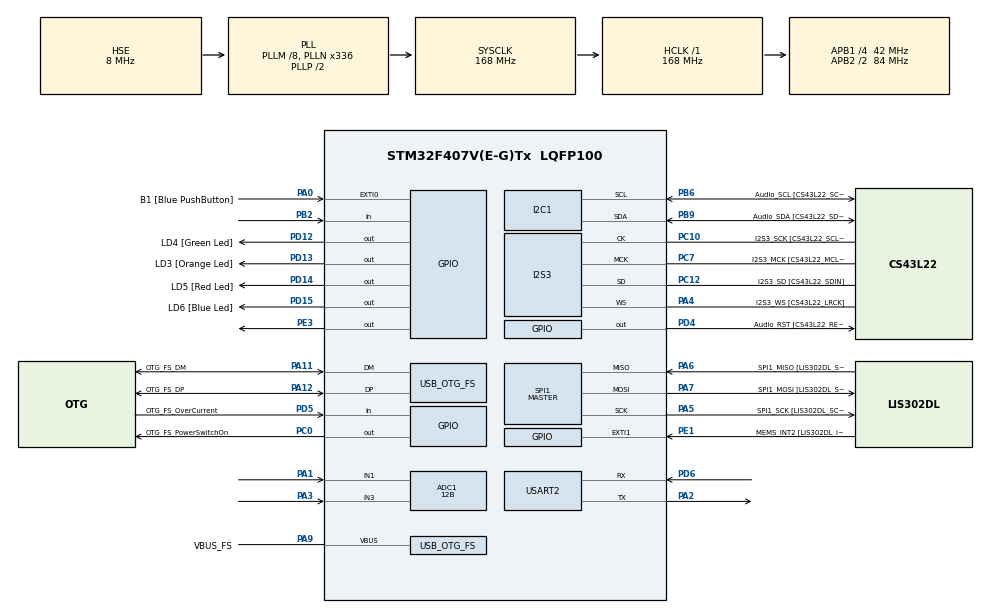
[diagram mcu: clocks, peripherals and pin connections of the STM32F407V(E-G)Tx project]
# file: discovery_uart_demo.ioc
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ADC1.Channel-0\#ChannelRegularConversion=ADC_CHANNEL_1
ADC1.Channel-2\#ChannelRegularConversion=ADC_CHANNEL_3
ADC1.ClockPrescaler=ADC_CLOCK_SYNC_PCLK_DIV4
ADC1.ContinuousConvMode=DISABLE
ADC1.DMAContinuousRequests=ENABLE
ADC1.EOCSelection=ADC_EOC_SEQ_CONV
ADC1.ExternalTrigConv=ADC_EXTERNALTRIGCONV_T2_TRGO
ADC1.InjNumberOfConversion=0
ADC1.NbrOfConversion=2
ADC1.NbrOfConversionFlag=1
ADC1.Rank-0\#ChannelRegularConversion=1
ADC1.Rank-2\#ChannelRegularConversion=2
ADC1.Resolution=ADC_RESOLUTION_12B
ADC1.SamplingTime-0\#ChannelRegularConversion=ADC_SAMPLETIME_15CYCLES
ADC1.SamplingTime-2\#ChannelRegularConversion=ADC_SAMPLETIME_15CYCLES
ADC1.ScanConvMode=ENABLE
ADC1.master=1
Dma.ADC1.0.Direction=DMA_PERIPH_TO_MEMORY
Dma.ADC1.0.FIFOMode=DMA_FIFOMODE_DISABLE
Dma.ADC1.0.Instance=DMA2_Stream0
Dma.ADC1.0.MemDataAlignment=DMA_MDATAALIGN_HALFWORD
Dma.ADC1.0.MemInc=DMA_MINC_ENABLE
Dma.ADC1.0.Mode=DMA_CIRCULAR
Dma.ADC1.0.PeriphDataAlignment=DMA_PDATAALIGN_HALFWORD
Dma.ADC1.0.PeriphInc=DMA_PINC_DISABLE
Dma.ADC1.0.Priority=DMA_PRIORITY_HIGH
Dma.Request0=ADC1
I2S3.AudioFreq-Half_Duplex_Master=I2S_AUDIOFREQ_96K
I2S3.ErrorAudioFreq=-2.34 %
I2S3.ErrorAudioFreq-Half_Duplex_Master=0.8 %
I2S3.FullDuplexMode=I2S_FULLDUPLEXMODE_DISABLE
I2S3.Instance=SPI$Index
I2S3.RealAudioFreq=93.75 KHz
I2S3.RealAudioFreq-Half_Duplex_Master=96.774 KHz
I2S3.VirtualMode=I2S_MODE_MASTER
Mcu.Family=STM32F4
Mcu.Name=STM32F407V(E-G)Tx
Mcu.Package=LQFP100
NVIC.DMA2_Stream0_IRQn=true\:0\:0\:false\:false\:true\:false\:true\:true
NVIC.OTG_FS_IRQn=true\:0\:0\:false\:false\:true\:true\:true\:true
NVIC.PriorityGroup=NVIC_PRIORITYGROUP_0
NVIC.TIM2_IRQn=true\:0\:2\:false\:false\:true\:true\:true\:true
PA0-WKUP.GPIO_Label=B1 [Blue PushButton]
PA0-WKUP.GPIO_ModeDefaultEXTI=GPIO_MODE_EVT_RISING
PA0-WKUP.GPIO_PuPd=GPIO_NOPULL
PA0-WKUP.Signal=GPXTI0
PA1.Signal=ADCx_IN1
PA10.GPIO_Label=OTG_FS_ID
PA10.GPIO_Mode=GPIO_MODE_AF_PP
PA10.GPIO_PuPd=GPIO_NOPULL
PA10.GPIO_Speed=GPIO_SPEED_FREQ_LOW
PA10.Signal=USB_OTG_FS_ID
PA11.GPIO_Label=OTG_FS_DM
PA11.GPIO_Mode=GPIO_MODE_AF_PP
PA11.GPIO_PuPd=GPIO_NOPULL
PA11.GPIO_Speed=GPIO_SPEED_FREQ_LOW
PA11.Mode=Device_Only
PA11.Signal=USB_OTG_FS_DM
PA12.GPIO_Label=OTG_FS_DP
PA12.GPIO_Mode=GPIO_MODE_AF_PP
PA12.GPIO_PuPd=GPIO_NOPULL
PA12.GPIO_Speed=GPIO_SPEED_FREQ_LOW
PA12.Mode=Device_Only
PA12.Signal=USB_OTG_FS_DP
PA13.GPIO_Label=SWDIO
PA13.Mode=Serial_Wire
PA13.Signal=SYS_JTMS-SWDIO
PA14.GPIO_Label=SWCLK
PA14.Mode=Serial_Wire
PA14.Signal=SYS_JTCK-SWCLK
PA2.Mode=Asynchronous
PA2.Signal=USART2_TX
PA3.Signal=ADCx_IN3
PA4.GPIO_Label=I2S3_WS [CS43L22_LRCK]
PA4.GPIO_Mode=GPIO_MODE_AF_PP
PA4.GPIO_PuPd=GPIO_NOPULL
PA4.GPIO_Speed=GPIO_SPEED_FREQ_LOW
PA4.Mode=Half_Duplex_Master
PA4.Signal=I2S3_WS
PA5.GPIO_Label=SPI1_SCK [LIS302DL_SCL/SPC]
PA5.GPIO_Mode=GPIO_MODE_AF_PP
PA5.GPIO_PuPd=GPIO_NOPULL
PA5.GPIO_Speed=GPIO_SPEED_FREQ_LOW
PA5.Mode=Full_Duplex_Master
PA5.Signal=SPI1_SCK
PA6.GPIO_Label=SPI1_MISO [LIS302DL_SDO]
PA6.GPIO_Mode=GPIO_MODE_AF_PP
PA6.GPIO_PuPd=GPIO_NOPULL
PA6.GPIO_Speed=GPIO_SPEED_FREQ_LOW
PA6.Mode=Full_Duplex_Master
PA6.Signal=SPI1_MISO
PA7.GPIO_Label=SPI1_MOSI [LIS302DL_SDA/SDI/SDO]
PA7.GPIO_Mode=GPIO_MODE_AF_PP
PA7.GPIO_PuPd=GPIO_NOPULL
PA7.GPIO_Speed=GPIO_SPEED_FREQ_LOW
PA7.Mode=Full_Duplex_Master
PA7.Signal=SPI1_MOSI
PA9.GPIO_Label=VBUS_FS
PA9.GPIO_Mode=GPIO_MODE_INPUT
PA9.GPIO_PuPd=GPIO_NOPULL
PA9.Mode=Activate_VBUS
PA9.Signal=USB_OTG_FS_VBUS
PB10.GPIO_Label=CLK_IN [MP45DT02_CLK]
PB10.GPIO_Mode=GPIO_MODE_AF_PP
PB10.GPIO_PuPd=GPIO_NOPULL
PB10.GPIO_Speed=GPIO_SPEED_FREQ_LOW
PB10.Signal=I2S2_CK
PB2.Signal=GPIO_Input
PB3.GPIO_Label=SWO
PB3.Signal=SYS_JTDO-SWO
PB6.GPIO_Label=Audio_SCL [CS43L22_SCL]
PB6.GPIO_Mode=GPIO_MODE_AF_OD
PB6.GPIO_Pu=GPIO_PULLUP
PB6.GPIO_PuPd=GPIO_NOPULL
PB6.GPIO_Speed=GPIO_SPEED_FREQ_LOW
PB6.Mode=I2C
PB6.Signal=I2C1_SCL
PB9.GPIO_Label=Audio_SDA [CS43L22_SDA]
PB9.GPIO_Mode=GPIO_MODE_AF_OD
PB9.GPIO_Pu=GPIO_PULLUP
PB9.GPIO_PuPd=GPIO_NOPULL
PB9.GPIO_Speed=GPIO_SPEED_FREQ_LOW
PB9.Mode=I2C
PB9.Signal=I2C1_SDA
PC0.GPIO_Label=OTG_FS_PowerSwitchOn
PC0.GPIO_PuPd=GPIO_NOPULL
PC0.GPIO_Speed=GPIO_SPEED_FREQ_LOW
PC0.PinState=GPIO_PIN_SET
PC0.Signal=GPIO_Output
PC10.GPIO_Label=I2S3_SCK [CS43L22_SCLK]
PC10.GPIO_Mode=GPIO_MODE_AF_PP
PC10.GPIO_PuPd=GPIO_NOPULL
PC10.GPIO_Speed=GPIO_SPEED_FREQ_LOW
PC10.Mode=Half_Duplex_Master
PC10.Signal=I2S3_CK
PC12.GPIO_Label=I2S3_SD [CS43L22_SDIN]
PC12.GPIO_Mode=GPIO_MODE_AF_PP
PC12.GPIO_PuPd=GPIO_NOPULL
PC12.GPIO_Speed=GPIO_SPEED_FREQ_LOW
PC12.Mode=Half_Duplex_Master
PC12.Signal=I2S3_SD
PC14-OSC32_IN.GPIO_Label=PC14-OSC32_IN
PC14-OSC32_IN.Mode=LSE-External-Oscillator
PC14-OSC32_IN.Signal=RCC_OSC32_IN
PC15-OSC32_OUT.GPIO_Label=PC15-OSC32_OUT
PC15-OSC32_OUT.Mode=LSE-External-Oscillator
PC15-OSC32_OUT.Signal=RCC_OSC32_OUT
PC3.GPIO_Label=PDM_OUT [MP45DT02_DOUT]
PC3.GPIO_Mode=GPIO_MODE_AF_PP
PC3.GPIO_PuPd=GPIO_NOPULL
PC3.GPIO_Speed=GPIO_SPEED_FREQ_LOW
PC3.Signal=I2S2_SD
PC7.GPIO_Label=I2S3_MCK [CS43L22_MCLK]
PC7.GPIO_Mode=GPIO_MODE_AF_PP
PC7.GPIO_PuPd=GPIO_NOPULL
PC7.GPIO_Speed=GPIO_SPEED_FREQ_LOW
PC7.Mode=Master_Clock_Activated
PC7.Signal=I2S3_MCK
PD12.GPIO_Label=LD4 [Green Led]
PD12.GPIO_PuPd=GPIO_NOPULL
PD12.GPIO_Speed=GPIO_SPEED_FREQ_LOW
PD12.Signal=GPIO_Output
PD13.GPIO_Label=LD3 [Orange Led]
PD13.GPIO_PuPd=GPIO_NOPULL
PD13.GPIO_Speed=GPIO_SPEED_FREQ_LOW
PD13.Signal=GPIO_Output
PD14.GPIO_Label=LD5 [Red Led]
PD14.GPIO_PuPd=GPIO_NOPULL
PD14.GPIO_Speed=GPIO_SPEED_FREQ_LOW
PD14.Signal=GPIO_Output
PD15.GPIO_Label=LD6 [Blue Led]
PD15.GPIO_PuPd=GPIO_NOPULL
PD15.GPIO_Speed=GPIO_SPEED_FREQ_LOW
PD15.Signal=GPIO_Output
PD4.GPIO_Label=Audio_RST [CS43L22_RESET]
PD4.GPIO_PuPd=GPIO_NOPULL
PD4.GPIO_Speed=GPIO_SPEED_FREQ_LOW
PD4.Signal=GPIO_Output
PD5.GPIO_Label=OTG_FS_OverCurrent
PD5.GPIO_Mode=GPIO_MODE_INPUT
PD5.GPIO_PuPd=GPIO_NOPULL
PD5.Signal=GPIO_Input
PD6.Mode=Asynchronous
PD6.Signal=USART2_RX
PE1.GPIO_Label=MEMS_INT2 [LIS302DL_INT2]
PE1.GPIO_ModeDefaultEXTI=GPIO_MODE_EVT_RISING
PE1.GPIO_PuPd=GPIO_NOPULL
PE1.Signal=GPXTI1
PE3.Signal=GPIO_Output
PH0-OSC_IN.GPIO_Label=PH0-OSC_IN
PH0-OSC_IN.Mode=HSE-External-Oscillator
PH0-OSC_IN.Signal=RCC_OSC_IN
PH1-OSC_OUT.GPIO_Label=PH1-OSC_OUT
PH1-OSC_OUT.Mode=HSE-External-Oscillator
PH1-OSC_OUT.Signal=RCC_OSC_OUT
ProjectManager.HeapSize=0x200
ProjectManager.StackSize=0x400
ProjectManager.TargetToolchain=STM32CubeIDE
RCC.48MHZClocksFreq_Value=48000000
RCC.AHBFreq_Value=168000000
RCC.APB1CLKDivider=RCC_HCLK_DIV4
RCC.APB1Freq_Value=42000000
RCC.APB1TimFreq_Value=84000000
RCC.APB2CLKDivider=RCC_HCLK_DIV2
RCC.APB2Freq_Value=84000000
RCC.APB2TimFreq_Value=168000000
RCC.CortexFreq_Value=168000000
RCC.HCLKFreq_Value=168000000
RCC.HSE_VALUE=8000000
RCC.HSI_VALUE=16000000
RCC.PLLM=8
RCC.PLLN=336
RCC.PLLQ=7
RCC.SYSCLKFreq_VALUE=168000000
RCC.SYSCLKSource=RCC_SYSCLKSOURCE_PLLCLK
RCC.VCOOutputFreq_Value=336000000
SH.ADCx_IN1.0=ADC1_IN1,IN1
SH.ADCx_IN3.0=ADC1_IN3,IN3
SPI1.BaudRatePrescaler-Full_Duplex_Master=SPI_BAUDRATEPRESCALER_2
SPI1.CalculateBaudRate-Full_Duplex_Master=42.0 MBits/s
SPI1.Direction=SPI_DIRECTION_2LINES
SPI1.Mode=SPI_MODE_MASTER
SPI1.Mode-Full_Duplex_Master=SPI_MODE_MASTER
SPI1.VirtualType=VM_MASTER
TIM2.Period=1679
TIM2.TIM_MasterOutputTrigger=TIM_TRGO_UPDATE
USART2.VirtualMode=VM_ASYNC
USB_DEVICE.CLASS_NAME_FS=CDC
USB_DEVICE.VirtualMode-CDC_FS=Cdc
USB_DEVICE.VirtualModeFS=Cdc_FS
USB_OTG_FS.VirtualMode=Device_Only
VP_TIM2_VS_ClockSourceINT.Mode=Internal
VP_USB_DEVICE_VS_USB_DEVICE_CDC_FS.Mode=CDC_FS
board=STM32F407G-DISC1

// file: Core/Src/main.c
/* USER CODE BEGIN Header */
/**
  ******************************************************************************
  * @file           : main.c
  * @brief          : Main program body
  ******************************************************************************
  * @attention
  *
  * Copyright (c) 2025 STMicroelectronics.
  * All rights reserved.
  *
  * This software is licensed under terms that can be found in the LICENSE file
  * in the root directory of this software component.
  * If no LICENSE file comes with this software, it is provided AS-IS.
  *
  ******************************************************************************
  */
/* USER CODE END Header */
#include "main.h"
#include "usb_device.h"

/* USER CODE BEGIN Includes */
#include "usbd_cdc_if.h"
/* USER CODE END Includes */

/* USER CODE BEGIN PD */
#define ADC_BUF_LEN 4096
/* USER CODE END PD */

ADC_HandleTypeDef hadc1;
DMA_HandleTypeDef hdma_adc1;

I2C_HandleTypeDef hi2c1;

I2S_HandleTypeDef hi2s3;

SPI_HandleTypeDef hspi1;

TIM_HandleTypeDef htim2;

UART_HandleTypeDef huart2;

/* USER CODE BEGIN PV */
uint16_t adc_buf[ADC_BUF_LEN];
volatile uint8_t full_ready = 0;
volatile uint8_t half_ready = 0;

extern USBD_HandleTypeDef hUsbDeviceFS;

extern volatile uint8_t CDC_Ready;
/* USER CODE END PV */

void SystemClock_Config(void);
static void MX_GPIO_Init(void);
static void MX_DMA_Init(void);
static void MX_I2C1_Init(void);
static void MX_I2S3_Init(void);
static void MX_SPI1_Init(void);
static void MX_ADC1_Init(void);
static void MX_TIM2_Init(void);
static void MX_USART2_UART_Init(void);
/* USER CODE BEGIN PFP */
void HAL_ADC_ConvHalfCpltCallback(ADC_HandleTypeDef *hadc)
{
//	CDC_Transmit_FS(adc_buf, ADC_BUF_LEN/2);
	half_ready = 1;
	HAL_TIM_Base_Stop(&htim2);   // pause sampling while we ship the snapshot
}

void HAL_ADC_ConvCpltCallback(ADC_HandleTypeDef *hadc)
{
//	CDC_Transmit_FS(adc_buf, ADC_BUF_LEN * 2);
	full_ready = 1;
	HAL_TIM_Base_Stop(&htim2);   // pause sampling while we ship the snapshot
}

/* USER CODE END PFP */

/* USER CODE BEGIN 0 */
static void resume_sampling(void)
{
	/* Clear any stale flags before we start filling again */
	half_ready = 0;
	full_ready = 0;

	HAL_TIM_Base_Start(&htim2);
}

static void transmit_snapshot(uint16_t *buf, uint16_t sample_count)
{
	uint16_t byte_count = sample_count * sizeof(uint16_t);

	/* Block until USB CDC can accept the packet, keeping the ADC stopped */
	while (CDC_Transmit_FS((uint8_t *)buf, byte_count) == USBD_BUSY)
	{
		HAL_Delay(1);
	}
}

/* USER CODE END 0 */

int main(void)
{

  /* MCU Configuration--------------------------------------------------------*/

  /* Reset of all peripherals, Initializes the Flash interface and the Systick. */
  HAL_Init();

  /* Configure the system clock */
  SystemClock_Config();

  /* Initialize all configured peripherals */
  MX_GPIO_Init();
  MX_DMA_Init();
  MX_I2C1_Init();
  MX_I2S3_Init();
  MX_SPI1_Init();
  MX_ADC1_Init();
  MX_USB_DEVICE_Init();
  MX_TIM2_Init();
  MX_USART2_UART_Init();
  /* USER CODE BEGIN 2 */
//  uint8_t msg[] = "Hello World!\r\n";

	HAL_ADC_Start_DMA(&hadc1, (uint32_t*)adc_buf, ADC_BUF_LEN);
	HAL_TIM_Base_Start(&htim2);
  /* USER CODE END 2 */

  /* Infinite loop */
  while (1)
  {

    /* USER CODE BEGIN 3 */
//    if(HAL_UART_Transmit(&huart2, msg, sizeof(msg) - 1, HAL_MAX_DELAY) == HAL_OK)
//    {
//    	HAL_Delay(1000);
//    	 HAL_GPIO_TogglePin(GPIOD, GPIO_PIN_12);

	  if (half_ready)
	      {
	          half_ready = 0;

	          transmit_snapshot(adc_buf, ADC_BUF_LEN / 2);
	          resume_sampling();
	      }
	  if (full_ready)
	      {
	          full_ready = 0;

	          transmit_snapshot(&adc_buf[ADC_BUF_LEN/2], ADC_BUF_LEN / 2);
	          resume_sampling();
	      }

  }
  /* USER CODE END 3 */
}

void SystemClock_Config(void)
{
  RCC_OscInitTypeDef RCC_OscInitStruct = {0};
  RCC_ClkInitTypeDef RCC_ClkInitStruct = {0};

  /** Configure the main internal regulator output voltage
  */
  __HAL_RCC_PWR_CLK_ENABLE();
  __HAL_PWR_VOLTAGESCALING_CONFIG(PWR_REGULATOR_VOLTAGE_SCALE1);

  /** Initializes the RCC Oscillators according to the specified parameters
  * in the RCC_OscInitTypeDef structure.
  */
  RCC_OscInitStruct.OscillatorType = RCC_OSCILLATORTYPE_HSE;
  RCC_OscInitStruct.HSEState = RCC_HSE_ON;
  RCC_OscInitStruct.PLL.PLLState = RCC_PLL_ON;
  RCC_OscInitStruct.PLL.PLLSource = RCC_PLLSOURCE_HSE;
  RCC_OscInitStruct.PLL.PLLM = 8;
  RCC_OscInitStruct.PLL.PLLN = 336;
  RCC_OscInitStruct.PLL.PLLP = RCC_PLLP_DIV2;
  RCC_OscInitStruct.PLL.PLLQ = 7;
  if (HAL_RCC_OscConfig(&RCC_OscInitStruct) != HAL_OK)
  {
    Error_Handler();
  }

  /** Initializes the CPU, AHB and APB buses clocks
  */
  RCC_ClkInitStruct.ClockType = RCC_CLOCKTYPE_HCLK|RCC_CLOCKTYPE_SYSCLK
                              |RCC_CLOCKTYPE_PCLK1|RCC_CLOCKTYPE_PCLK2;
  RCC_ClkInitStruct.SYSCLKSource = RCC_SYSCLKSOURCE_PLLCLK;
  RCC_ClkInitStruct.AHBCLKDivider = RCC_SYSCLK_DIV1;
  RCC_ClkInitStruct.APB1CLKDivider = RCC_HCLK_DIV4;
  RCC_ClkInitStruct.APB2CLKDivider = RCC_HCLK_DIV2;

  if (HAL_RCC_ClockConfig(&RCC_ClkInitStruct, FLASH_LATENCY_5) != HAL_OK)
  {
    Error_Handler();
  }
}

static void MX_ADC1_Init(void)
{

  ADC_ChannelConfTypeDef sConfig = {0};

  /** Configure the global features of the ADC (Clock, Resolution, Data Alignment and number of conversion)
  */
  hadc1.Instance = ADC1;
  hadc1.Init.ClockPrescaler = ADC_CLOCK_SYNC_PCLK_DIV4;
  hadc1.Init.Resolution = ADC_RESOLUTION_12B;
  hadc1.Init.ScanConvMode = ENABLE;
  hadc1.Init.ContinuousConvMode = DISABLE;
  hadc1.Init.DiscontinuousConvMode = DISABLE;
  hadc1.Init.ExternalTrigConvEdge = ADC_EXTERNALTRIGCONVEDGE_RISING;
  hadc1.Init.ExternalTrigConv = ADC_EXTERNALTRIGCONV_T2_TRGO;
  hadc1.Init.DataAlign = ADC_DATAALIGN_RIGHT;
  hadc1.Init.NbrOfConversion = 2;
  hadc1.Init.DMAContinuousRequests = ENABLE;
  hadc1.Init.EOCSelection = ADC_EOC_SEQ_CONV;
  if (HAL_ADC_Init(&hadc1) != HAL_OK)
  {
    Error_Handler();
  }

  /** Configure for the selected ADC regular channel its corresponding rank in the sequencer and its sample time.
  */
  sConfig.Channel = ADC_CHANNEL_1;
  sConfig.Rank = 1;
  sConfig.SamplingTime = ADC_SAMPLETIME_15CYCLES;
  if (HAL_ADC_ConfigChannel(&hadc1, &sConfig) != HAL_OK)
  {
    Error_Handler();
  }

  /** Configure for the selected ADC regular channel its corresponding rank in the sequencer and its sample time.
  */
  sConfig.Channel = ADC_CHANNEL_3;
  sConfig.Rank = 2;
  if (HAL_ADC_ConfigChannel(&hadc1, &sConfig) != HAL_OK)
  {
    Error_Handler();
  }

}

static void MX_I2C1_Init(void)
{

  hi2c1.Instance = I2C1;
  hi2c1.Init.ClockSpeed = 100000;
  hi2c1.Init.DutyCycle = I2C_DUTYCYCLE_2;
  hi2c1.Init.OwnAddress1 = 0;
  hi2c1.Init.AddressingMode = I2C_ADDRESSINGMODE_7BIT;
  hi2c1.Init.DualAddressMode = I2C_DUALADDRESS_DISABLE;
  hi2c1.Init.OwnAddress2 = 0;
  hi2c1.Init.GeneralCallMode = I2C_GENERALCALL_DISABLE;
  hi2c1.Init.NoStretchMode = I2C_NOSTRETCH_DISABLE;
  if (HAL_I2C_Init(&hi2c1) != HAL_OK)
  {
    Error_Handler();
  }

}

static void MX_I2S3_Init(void)
{

  hi2s3.Instance = SPI3;
  hi2s3.Init.Mode = I2S_MODE_MASTER_TX;
  hi2s3.Init.Standard = I2S_STANDARD_PHILIPS;
  hi2s3.Init.DataFormat = I2S_DATAFORMAT_16B;
  hi2s3.Init.MCLKOutput = I2S_MCLKOUTPUT_ENABLE;
  hi2s3.Init.AudioFreq = I2S_AUDIOFREQ_96K;
  hi2s3.Init.CPOL = I2S_CPOL_LOW;
  hi2s3.Init.ClockSource = I2S_CLOCK_PLL;
  hi2s3.Init.FullDuplexMode = I2S_FULLDUPLEXMODE_DISABLE;
  if (HAL_I2S_Init(&hi2s3) != HAL_OK)
  {
    Error_Handler();
  }

}

static void MX_SPI1_Init(void)
{

  /* SPI1 parameter configuration*/
  hspi1.Instance = SPI1;
  hspi1.Init.Mode = SPI_MODE_MASTER;
  hspi1.Init.Direction = SPI_DIRECTION_2LINES;
  hspi1.Init.DataSize = SPI_DATASIZE_8BIT;
  hspi1.Init.CLKPolarity = SPI_POLARITY_LOW;
  hspi1.Init.CLKPhase = SPI_PHASE_1EDGE;
  hspi1.Init.NSS = SPI_NSS_SOFT;
  hspi1.Init.BaudRatePrescaler = SPI_BAUDRATEPRESCALER_2;
  hspi1.Init.FirstBit = SPI_FIRSTBIT_MSB;
  hspi1.Init.TIMode = SPI_TIMODE_DISABLE;
  hspi1.Init.CRCCalculation = SPI_CRCCALCULATION_DISABLE;
  hspi1.Init.CRCPolynomial = 10;
  if (HAL_SPI_Init(&hspi1) != HAL_OK)
  {
    Error_Handler();
  }

}

static void MX_TIM2_Init(void)
{

  TIM_ClockConfigTypeDef sClockSourceConfig = {0};
  TIM_MasterConfigTypeDef sMasterConfig = {0};

  htim2.Instance = TIM2;
  htim2.Init.Prescaler = 0;
  htim2.Init.CounterMode = TIM_COUNTERMODE_UP;
  htim2.Init.Period = 1679;
  htim2.Init.ClockDivision = TIM_CLOCKDIVISION_DIV1;
  htim2.Init.AutoReloadPreload = TIM_AUTORELOAD_PRELOAD_DISABLE;
  if (HAL_TIM_Base_Init(&htim2) != HAL_OK)
  {
    Error_Handler();
  }
  sClockSourceConfig.ClockSource = TIM_CLOCKSOURCE_INTERNAL;
  if (HAL_TIM_ConfigClockSource(&htim2, &sClockSourceConfig) != HAL_OK)
  {
    Error_Handler();
  }
  sMasterConfig.MasterOutputTrigger = TIM_TRGO_UPDATE;
  sMasterConfig.MasterSlaveMode = TIM_MASTERSLAVEMODE_DISABLE;
  if (HAL_TIMEx_MasterConfigSynchronization(&htim2, &sMasterConfig) != HAL_OK)
  {
    Error_Handler();
  }

}

static void MX_USART2_UART_Init(void)
{

  huart2.Instance = USART2;
  huart2.Init.BaudRate = 115200;
  huart2.Init.WordLength = UART_WORDLENGTH_8B;
  huart2.Init.StopBits = UART_STOPBITS_1;
  huart2.Init.Parity = UART_PARITY_NONE;
  huart2.Init.Mode = UART_MODE_TX_RX;
  huart2.Init.HwFlowCtl = UART_HWCONTROL_NONE;
  huart2.Init.OverSampling = UART_OVERSAMPLING_16;
  if (HAL_UART_Init(&huart2) != HAL_OK)
  {
    Error_Handler();
  }

}

static void MX_DMA_Init(void)
{

  /* DMA controller clock enable */
  __HAL_RCC_DMA2_CLK_ENABLE();

  /* DMA interrupt init */
  /* DMA2_Stream0_IRQn interrupt configuration */
  HAL_NVIC_SetPriority(DMA2_Stream0_IRQn, 0, 0);
  HAL_NVIC_EnableIRQ(DMA2_Stream0_IRQn);

}

static void MX_GPIO_Init(void)
{
  GPIO_InitTypeDef GPIO_InitStruct = {0};

  /* GPIO Ports Clock Enable */
  __HAL_RCC_GPIOE_CLK_ENABLE();
  __HAL_RCC_GPIOC_CLK_ENABLE();
  __HAL_RCC_GPIOH_CLK_ENABLE();
  __HAL_RCC_GPIOA_CLK_ENABLE();
  __HAL_RCC_GPIOB_CLK_ENABLE();
  __HAL_RCC_GPIOD_CLK_ENABLE();

  /*Configure GPIO pin Output Level */
  HAL_GPIO_WritePin(GPIOE, GPIO_PIN_3, GPIO_PIN_RESET);

  /*Configure GPIO pin Output Level */
  HAL_GPIO_WritePin(OTG_FS_PowerSwitchOn_GPIO_Port, OTG_FS_PowerSwitchOn_Pin, GPIO_PIN_SET);

  /*Configure GPIO pin Output Level */
  HAL_GPIO_WritePin(GPIOD, LD4_Pin|LD3_Pin|LD5_Pin|LD6_Pin
                          |Audio_RST_Pin, GPIO_PIN_RESET);

  /*Configure GPIO pin : PE3 */
  GPIO_InitStruct.Pin = GPIO_PIN_3;
  GPIO_InitStruct.Mode = GPIO_MODE_OUTPUT_PP;
  GPIO_InitStruct.Pull = GPIO_NOPULL;
  GPIO_InitStruct.Speed = GPIO_SPEED_FREQ_LOW;
  HAL_GPIO_Init(GPIOE, &GPIO_InitStruct);

  /*Configure GPIO pin : OTG_FS_PowerSwitchOn_Pin */
  GPIO_InitStruct.Pin = OTG_FS_PowerSwitchOn_Pin;
  GPIO_InitStruct.Mode = GPIO_MODE_OUTPUT_PP;
  GPIO_InitStruct.Pull = GPIO_NOPULL;
  GPIO_InitStruct.Speed = GPIO_SPEED_FREQ_LOW;
  HAL_GPIO_Init(OTG_FS_PowerSwitchOn_GPIO_Port, &GPIO_InitStruct);

  /*Configure GPIO pin : PDM_OUT_Pin */
  GPIO_InitStruct.Pin = PDM_OUT_Pin;
  GPIO_InitStruct.Mode = GPIO_MODE_AF_PP;
  GPIO_InitStruct.Pull = GPIO_NOPULL;
  GPIO_InitStruct.Speed = GPIO_SPEED_FREQ_LOW;
  GPIO_InitStruct.Alternate = GPIO_AF5_SPI2;
  HAL_GPIO_Init(PDM_OUT_GPIO_Port, &GPIO_InitStruct);

  /*Configure GPIO pin : B1_Pin */
  GPIO_InitStruct.Pin = B1_Pin;
  GPIO_InitStruct.Mode = GPIO_MODE_EVT_RISING;
  GPIO_InitStruct.Pull = GPIO_NOPULL;
  HAL_GPIO_Init(B1_GPIO_Port, &GPIO_InitStruct);

  /*Configure GPIO pin : PB2 */
  GPIO_InitStruct.Pin = GPIO_PIN_2;
  GPIO_InitStruct.Mode = GPIO_MODE_INPUT;
  GPIO_InitStruct.Pull = GPIO_NOPULL;
  HAL_GPIO_Init(GPIOB, &GPIO_InitStruct);

  /*Configure GPIO pin : CLK_IN_Pin */
  GPIO_InitStruct.Pin = CLK_IN_Pin;
  GPIO_InitStruct.Mode = GPIO_MODE_AF_PP;
  GPIO_InitStruct.Pull = GPIO_NOPULL;
  GPIO_InitStruct.Speed = GPIO_SPEED_FREQ_LOW;
  GPIO_InitStruct.Alternate = GPIO_AF5_SPI2;
  HAL_GPIO_Init(CLK_IN_GPIO_Port, &GPIO_InitStruct);

  /*Configure GPIO pins : LD4_Pin LD3_Pin LD5_Pin LD6_Pin
                           Audio_RST_Pin */
  GPIO_InitStruct.Pin = LD4_Pin|LD3_Pin|LD5_Pin|LD6_Pin
                          |Audio_RST_Pin;
  GPIO_InitStruct.Mode = GPIO_MODE_OUTPUT_PP;
  GPIO_InitStruct.Pull = GPIO_NOPULL;
  GPIO_InitStruct.Speed = GPIO_SPEED_FREQ_LOW;
  HAL_GPIO_Init(GPIOD, &GPIO_InitStruct);

  /*Configure GPIO pin : OTG_FS_OverCurrent_Pin */
  GPIO_InitStruct.Pin = OTG_FS_OverCurrent_Pin;
  GPIO_InitStruct.Mode = GPIO_MODE_INPUT;
  GPIO_InitStruct.Pull = GPIO_NOPULL;
  HAL_GPIO_Init(OTG_FS_OverCurrent_GPIO_Port, &GPIO_InitStruct);

  /*Configure GPIO pin : MEMS_INT2_Pin */
  GPIO_InitStruct.Pin = MEMS_INT2_Pin;
  GPIO_InitStruct.Mode = GPIO_MODE_EVT_RISING;
  GPIO_InitStruct.Pull = GPIO_NOPULL;
  HAL_GPIO_Init(MEMS_INT2_GPIO_Port, &GPIO_InitStruct);

}

void Error_Handler(void)
{
  __disable_irq();
  while (1)
  {
  }
}
